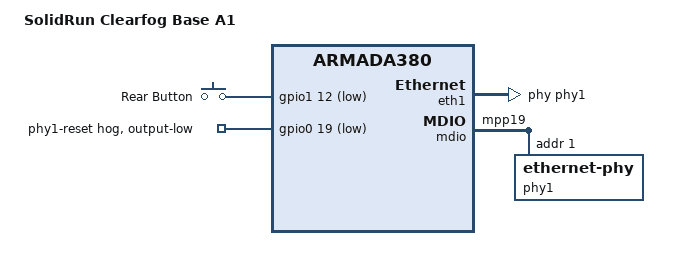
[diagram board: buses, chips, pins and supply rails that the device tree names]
/*
 * Device Tree file for SolidRun Clearfog Base revision A1 rev 2.0 (88F6828)
 *
 *  Copyright (C) 2015 Russell King
 *
 * This board is in development; the contents of this file work with
 * the A1 rev 2.0 of the board, which does not represent final
 * production board.  Things will change, don't expect this file to
 * remain compatible info the future.
 *
 * This file is dual-licensed: you can use it either under the terms
 * of the GPL or the X11 license, at your option. Note that this dual
 * licensing only applies to this file, and not this project as a
 * whole.
 *
 *  a) This file is free software; you can redistribute it and/or
 *     modify it under the terms of the GNU General Public License
 *     version 2 as published by the Free Software Foundation.
 *
 *     This file is distributed in the hope that it will be useful,
 *     but WITHOUT ANY WARRANTY; without even the implied warranty of
 *     MERCHANTABILITY or FITNESS FOR A PARTICULAR PURPOSE.  See the
 *     GNU General Public License for more details.
 *
 * Or, alternatively,
 *
 *  b) Permission is hereby granted, free of charge, to any person
 *     obtaining a copy of this software and associated documentation
 *     files (the "Software"), to deal in the Software without
 *     restriction, including without limitation the rights to use,
 *     copy, modify, merge, publish, distribute, sublicense, and/or
 *     sell copies of the Software, and to permit persons to whom the
 *     Software is furnished to do so, subject to the following
 *     conditions:
 *
 *     The above copyright notice and this permission notice shall be
 *     included in all copies or substantial portions of the Software.
 *
 *     THE SOFTWARE IS PROVIDED "AS IS", WITHOUT WARRANTY OF ANY KIND,
 *     EXPRESS OR IMPLIED, INCLUDING BUT NOT LIMITED TO THE WARRANTIES
 *     OF MERCHANTABILITY, FITNESS FOR A PARTICULAR PURPOSE AND
 *     NONINFRINGEMENT. IN NO EVENT SHALL THE AUTHORS OR COPYRIGHT
 *     HOLDERS BE LIABLE FOR ANY CLAIM, DAMAGES OR OTHER LIABILITY,
 *     WHETHER IN AN ACTION OF CONTRACT, TORT OR OTHERWISE, ARISING
 *     FROM, OUT OF OR IN CONNECTION WITH THE SOFTWARE OR THE USE OR
 *     OTHER DEALINGS IN THE SOFTWARE.
 */

/dts-v1/;
#include "armada-388-clearfog.dtsi"
#include "armada-38x-solidrun-microsom-emmc.dtsi"

/ {
	model = "SolidRun Clearfog Base A1";
	compatible = "solidrun,clearfog-base-a1",
		"solidrun,clearfog-a1", "marvell,armada388",
		"marvell,armada385", "marvell,armada380";

	gpio-keys {
		compatible = "gpio-keys";
		pinctrl-0 = <&rear_button_pins>;
		pinctrl-names = "default";

		button_0 {
			/* The rear SW3 button */
			label = "Rear Button";
			gpios = <&gpio1 12 GPIO_ACTIVE_LOW>;
			linux,can-disable;
			linux,code = <BTN_0>;
		};
	};
};

&eth1 {
	phy = <&phy1>;
};

&gpio0 {
	phy1_reset {
		gpio-hog;
		gpios = <19 GPIO_ACTIVE_LOW>;
		output-low;
		line-name = "phy1-reset";
	};
};

&mdio {
	pinctrl-0 = <&mdio_pins &microsom_phy_clk_pins &clearfog_phy_pins>;
	phy1: ethernet-phy@1 {
		/*
		 * Annoyingly, the marvell phy driver configures the LED
		 * register, rather than preserving reset-loaded setting.
		 * We undo that rubbish here.
		 */
		marvell,reg-init = <3 16 0 0x101e>;
		reg = <1>;
	};
};

&pinctrl {
	/* phy1 reset */
	clearfog_phy_pins: clearfog-phy-pins {
		marvell,pins = "mpp19";
		marvell,function = "gpio";
	};
	rear_button_pins: rear-button-pins {
		marvell,pins = "mpp44";
		marvell,function = "gpio";
	};
};

/*
MPP
18: pu	gpio		pca9655 int
19:	gpio		phy reset
20: pu	gpio		sd0 detect
21:	sd0:cmd
22: pd	gpio		mikro int
23:

24:	ua1:rxd		mikro rx
25:	ua1:txd		mikro tx
26: pu	i2c1:sck
27: pu	i2c1:sda
28:	sd0:clk
29: pd	gpio		mikro rst
30:
31:

32:
33:
34:
35:
36:
37:	sd0:d3
38:	sd0:d0
39:	sd0:d1

40:	sd0:d2
41:
42:
43:	spi1:cs2	mikro cs
44:	gpio		rear button sw3
45:	ref:clk_out0	phy#0 clock
46:	ref:clk_out1	phy#1 clock
47:

48:	gpio		J18 spare gpio
49:	gpio		U10 I2C_IRQ(GNSS)
50:	gpio		board id?
51:
52:
53:
54:	gpio		mikro pwm
55:

56: pu	spi1:mosi	mikro mosi
57: pd	spi1:sck	mikro sck
58:	spi1:miso	mikro miso
59:
*/
